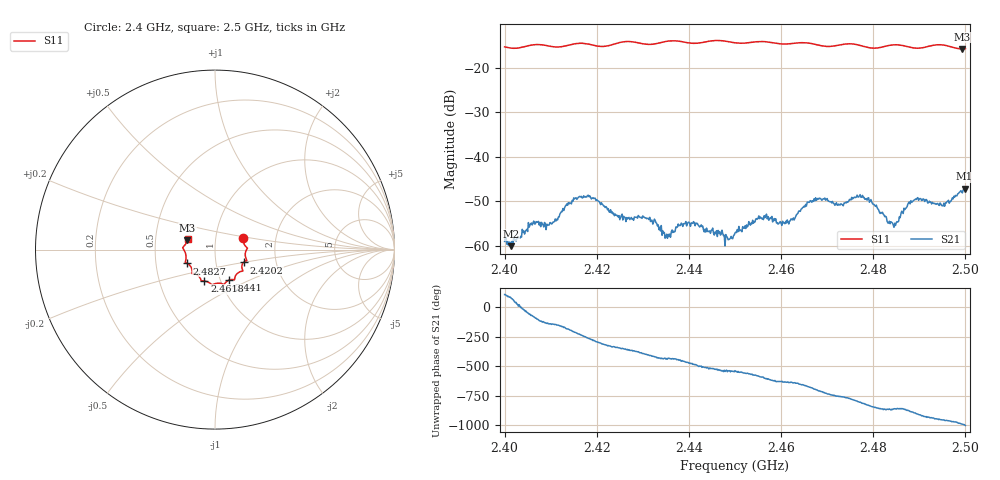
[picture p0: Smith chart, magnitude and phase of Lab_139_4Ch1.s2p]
# Hz S RI R 50
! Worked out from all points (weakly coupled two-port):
!   601 points, 2.4 GHz to 2.5 GHz, reference 50 ohm
!   highest |S21| = -47.16 dB at 2.4998 GHz (marker M1); lowest = -60.1 dB at 2.4013 GHz (marker M2)
!   lowest |S11| = -15.8 dB at 2.4993 GHz (marker M3), VSWR 1.39, Z = 36.5 + j3.81 ohm
!   |S11| at or under -10 dB: start of sweep to end of sweep
!   S12 and S22 are empty: the file has one direction only
!   S11 on the Smith chart (normalised r, x): 2.4 GHz: 1.36, +0.18; 2.4202 GHz: 1.36, -0.20; 2.441 GHz: 1.10, -0.39; 2.4618 GHz: 0.84, -0.30; 2.4827 GHz: 0.72, -0.11; 2.5 GHz: 0.73, +0.09
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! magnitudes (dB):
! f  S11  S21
! 2.4 GHz  -15.4  -59.0
! 2.4013 GHz  -15.6  -60.1
! 2.4167 GHz  -14.5  -48.9
! 2.4202 GHz  -15.2  -49.9
! 2.4247 GHz  -14.5  -53.6
! 2.4333 GHz  -14.5  -55.3
! 2.4353 GHz  -14.1  -58.3
! 2.441 GHz  -14.6  -54.6
! 2.4483 GHz  -14.2  -58.1
! 2.45 GHz  -14.4  -57.1
! 2.4552 GHz  -14.2  -53.3
! 2.4618 GHz  -14.7  -54.5
! 2.4667 GHz  -14.6  -50.2
! 2.4775 GHz  -15.1  -49.1
! 2.4827 GHz  -15.2  -53.4
! 2.4833 GHz  -15.1  -54.9
! 2.485 GHz  -14.9  -54.8
! 2.4892 GHz  -15.6  -49.5
! 2.4953 GHz  -15.0  -50.4
! 2.4993 GHz  -15.8  -48.1
! 2.4998 GHz  -15.7  -47.2
! 2.5 GHz  -15.7  -47.4
